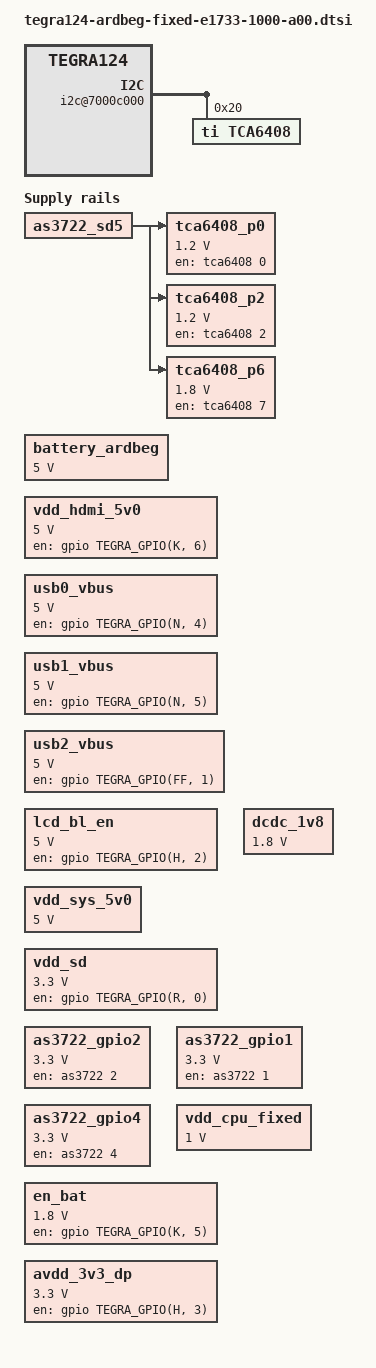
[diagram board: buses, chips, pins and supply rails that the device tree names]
/*
 * arch/arm/boot/dts/tegra124-platforms/tegra124-ardbeg-fixed-e1733-1000-a00.dtsi
 *
 * Copyright (c) 2014, NVIDIA CORPORATION.  All rights reserved.
 *
 * This program is free software; you can redistribute it and/or modify
 * it under the terms of the GNU General Public License as published by
 * the Free Software Foundation; either version 2 of the License, or
 * (at your option) any later version.
 *
 * This program is distributed in the hope that it will be useful, but WITHOUT
 * ANY WARRANTY; without even the implied warranty of MERCHANTABILITY or
 * FITNESS FOR A PARTICULAR PURPOSE.  See the GNU General Public License for
 * more details.
 *
 * You should have received a copy of the GNU General Public License along
 * with this program; if not, write to the Free Software Foundation, Inc.,
 * 51 Franklin Street, Fifth Floor, Boston, MA  02110-1301, USA.
 */

#include <dt-bindings/gpio/tegra-gpio.h>

/ {
	i2c@7000c000 {
		tca6408: gpio@20 {
			compatible = "ti,tca6408";
			reg = <0x20>;
			gpio-controller;
			#gpio-cells = <2>;
		};
	};

	regulators {
		compatible = "simple-bus";
		device_type = "fixed-regulators";
		#address-cells = <1>;
		#size-cells = <0>;

		battery_ardbeg: regulator@0 {
			compatible = "regulator-fixed";
			reg = <0>;
			regulator-name = "vdd_ac_bat";
			regulator-min-microvolt = <5000000>;
			regulator-max-microvolt = <5000000>;
			regulator-always-on;

			consumers {
				c0 {
					regulator-consumer-supply = "vdd_sys_bl";
				};
			};
		};

		vdd_hdmi_5v0: regulator@1 {
			compatible = "regulator-fixed-sync";
			reg = <1>;
			regulator-name = "vdd-hdmi-5v0";
			regulator-min-microvolt = <5000000>;
			regulator-max-microvolt = <5000000>;
			gpio = <&gpio TEGRA_GPIO(K, 6) 0>;
			enable-active-high;
		};

		usb0_vbus: regulator@2 {
			compatible = "regulator-fixed-sync";
			reg = <2>;
			regulator-name = "usb0-vbus";
			regulator-min-microvolt = <5000000>;
			regulator-max-microvolt = <5000000>;
			gpio = <&gpio TEGRA_GPIO(N, 4) 0>;
			enable-active-high;
			gpio-open-drain;

			consumers {
				c0 {
					regulator-consumer-supply = "usb_vbus";
					regulator-consumer-device = "tegra-ehci.0";
				};
				c1 {
					regulator-consumer-supply = "usb_vbus";
					regulator-consumer-device = "tegra-otg";
				};
			};
		};

		usb1_vbus: regulator@3 {
			compatible = "regulator-fixed-sync";
			reg = <3>;
			regulator-name = "usb1_vbus";
			regulator-min-microvolt = <5000000>;
			regulator-max-microvolt = <5000000>;
			gpio = <&gpio TEGRA_GPIO(N, 5) 0>;
			enable-active-high;
			gpio-open-drain;

			consumers {
				c0 {
					regulator-consumer-supply = "usb_vbus";
					regulator-consumer-device = "tegra-ehci.1";
				};
			};
		};

		usb2_vbus: regulator@4 {
			compatible = "regulator-fixed-sync";
			reg = <4>;
			regulator-name = "usb2_vbus";
			regulator-min-microvolt = <5000000>;
			regulator-max-microvolt = <5000000>;
			gpio = <&gpio TEGRA_GPIO(FF, 1) 0>;
			enable-active-high;
			gpio-open-drain;

			consumers {
				c0 {
					regulator-consumer-supply = "usb_vbus";
					regulator-consumer-device = "tegra-ehci.2";
				};
			};
		};

		lcd_bl_en: regulator@5 {
			compatible = "regulator-fixed-sync";
			reg = <5>;
			regulator-name = "lcd_bl_en";
			regulator-min-microvolt = <5000000>;
			regulator-max-microvolt = <5000000>;
			gpio = <&gpio TEGRA_GPIO(H, 2) 0>;
			enable-active-high;
		};

		dcdc_1v8: regulator@6 {
			compatible = "regulator-fixed";
			reg = <6>;
			regulator-name = "dcdc-1v8";
			regulator-min-microvolt = <1800000>;
			regulator-max-microvolt = <1800000>;

			consumers {
				c0 {
					regulator-consumer-supply = "avdd_lvds0_pll";
				};
				c1 {
					regulator-consumer-supply = "vdd_ds_1v8";
				};
			};
		};

		vdd_sys_5v0: regulator@7 {
			compatible = "regulator-fixed";
			reg = <7>;
			regulator-name = "vdd-sys-5v0";
			regulator-min-microvolt = <5000000>;
			regulator-max-microvolt = <5000000>;

			consumers {
				c0 {
					regulator-consumer-supply = "vdd_spk_5v0";
				};
				c1 {
					regulator-consumer-supply = "spkvdd";
					regulator-consumer-device = "tegra-snd-rt5639.0";
				};
				c2 {
					regulator-consumer-supply = "spkvdd";
					regulator-consumer-device = "tegra-snd-rt5645.0";
				};
			};
		};

		vdd_sd: regulator@8 {
			compatible = "regulator-fixed-sync";
			reg = <8>;
			regulator-name = "vdd-sd";
			regulator-min-microvolt = <3300000>;
			regulator-max-microvolt = <3300000>;
			gpio = <&gpio TEGRA_GPIO(R, 0) 0>;
			enable-active-high;

			consumers {
				c0 {
					regulator-consumer-supply = "vddio_sd_slot";
					regulator-consumer-device = "sdhci-tegra.2";
				};
			};
		};

		as3722_gpio2: regulator@9 {
			compatible = "regulator-fixed-sync";
			reg = <9>;
			regulator-name = "as3722-gpio2";
			regulator-min-microvolt = <3300000>;
			regulator-max-microvolt = <3300000>;
			regulator-always-on;
			regulator-boot-on;
			gpio = <&as3722 2 0>;
			enable-active-high;

			consumers {
				c0 {
					regulator-consumer-supply = "micvdd";
					regulator-consumer-device = "tegra-snd-rt5645.0";
				};
				c3 {
					regulator-consumer-supply = "avdd_usb";
					regulator-consumer-device = "tegra-udc.0";
				};
				c4 {
					regulator-consumer-supply = "avdd_usb";
					regulator-consumer-device = "tegra-ehci.0";
				};
				c5 {
					regulator-consumer-supply = "avdd_usb";
					regulator-consumer-device = "tegra-ehci.1";
				};
				c6 {
					regulator-consumer-supply = "avdd_usb";
					regulator-consumer-device = "tegra-ehci.2";
				};
				c8 {
					regulator-consumer-supply = "vddio_sd_slot";
					regulator-consumer-device = "sdhci-tegra.3";
				};
				c13 {
					regulator-consumer-supply = "vdd";
					regulator-consumer-device = "0-0069";
				};
				c14 {
					regulator-consumer-supply = "vdd";
					regulator-consumer-device = "0-0048";
				};
				c15 {
					regulator-consumer-supply = "vdd";
					regulator-consumer-device = "stm8t143.2";
				};
				c16 {
					regulator-consumer-supply = "vdd";
					regulator-consumer-device = "0-000c";
				};
				c17 {
					regulator-consumer-supply = "vdd";
					regulator-consumer-device = "0-0077";
				};
				c18 {
					regulator-consumer-supply = "hvdd_sata";
					regulator-consumer-device = "tegra-sata.0";
				};
				c19 {
					regulator-consumer-supply = "vdd";
					regulator-consumer-device = "1-004c";
				};
				c20 {
					regulator-consumer-supply = "vdd";
					regulator-consumer-device = "1-004d";
				};
			};
		};

		as3722_gpio1: regulator@10 {
			compatible = "regulator-fixed-sync";
			reg = <10>;
			regulator-name = "as3722-gpio1";
			regulator-min-microvolt = <3300000>;
			regulator-max-microvolt = <3300000>;
			gpio = <&as3722 1 0>;
			enable-active-high;

			consumers {
				c0 {
					regulator-consumer-supply = "vdd_wwan_mdm";
				};
			};
		};

		as3722_gpio4: regulator@11 {
			compatible = "regulator-fixed-sync";
			reg = <11>;
			regulator-name = "as3722-gpio4";
			regulator-min-microvolt = <3300000>;
			regulator-max-microvolt = <3300000>;
			gpio = <&as3722 4 0>;
			enable-active-high;
		};

		tca6408_p0: regulator@12 {
			compatible = "regulator-fixed-sync";
			reg = <12>;
			regulator-name = "tca6408-p0";
			regulator-min-microvolt = <1200000>;
			regulator-max-microvolt = <1200000>;
			vin-supply = <&as3722_sd5>;
			gpio = <&tca6408 0 0>;
			enable-active-high;

			consumers {
				c0 {
					regulator-consumer-supply = "vdd_lcd_1v2_s";
				};
			};
		};

		tca6408_p2: regulator@13 {
			compatible = "regulator-fixed-sync";
			reg = <13>;
			regulator-name = "tca6408-p2";
			regulator-min-microvolt = <1200000>;
			regulator-max-microvolt = <1200000>;
			vin-supply = <&as3722_sd5>;
			gpio = <&tca6408 2 0>;
			enable-active-high;

			consumers {
				c0 {
					regulator-consumer-supply = "ldoen";
					regulator-consumer-device = "tegra-snd-rt5639.0";
				};
			};
		};

		tca6408_p6: regulator@14 {
			compatible = "regulator-fixed-sync";
			reg = <14>;
			regulator-name = "tca6408-p6";
			regulator-min-microvolt = <1800000>;
			regulator-max-microvolt = <1800000>;
			vin-supply = <&as3722_sd5>;
			gpio = <&tca6408 7 0>;
			enable-active-high;

			consumers {
				c1 {
					regulator-consumer-supply = "vdd_lcd_1v8_s";
				};
			};
		};

		vdd_cpu_fixed: regulator@15 {
			compatible = "regulator-fixed";
			reg = <15>;
			regulator-name = "vdd-cpu-fixed";
			regulator-min-microvolt = <1000000>;
			regulator-max-microvolt = <1000000>;
			regulator-boot-on;

			consumers {
				c0 {
				regulator-consumer-supply = "vdd_cpu_fixed";
				};
			};
		};

		en_bat: regulator@16 {
			compatible = "regulator-fixed-sync";
			reg = <16>;
			regulator-name = "en-bat";
			regulator-min-microvolt = <1800000>;
			regulator-max-microvolt = <1800000>;
			regulator-always-on;
			regulator-boot-on;
			gpio = <&gpio TEGRA_GPIO(K, 5) 0>;
			enable-active-high;
		};

		avdd_3v3_dp: regulator@17 {
			compatible = "regulator-fixed-sync";
			reg = <17>;
			regulator-name = "avdd_3v3_dp";
			regulator-min-microvolt = <3300000>;
			regulator-max-microvolt = <3300000>;
			gpio = <&gpio TEGRA_GPIO(H, 3) 0>;
			enable-active-high;
			consumers {
				c0 {
					regulator-consumer-supply = "avdd_3v3_dp";
				};
			};
		};
	};
};
